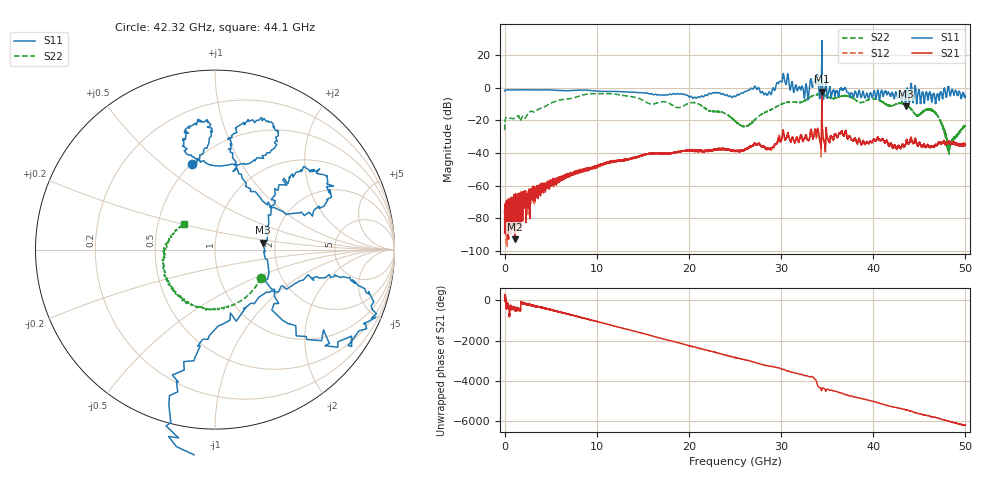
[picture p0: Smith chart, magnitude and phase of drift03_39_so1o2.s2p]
!Created with skrf (http://scikit-rf.org).
# Hz S RI R 50.0
!freq ReS11 ImS11 ReS21 ImS21 ReS12 ImS12 ReS22 ImS22
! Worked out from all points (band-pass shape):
!   10000 points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, 5.3 MHz to 50 GHz, reference 50 ohm
!   highest |S21| = -2.53 dB at 34.43 GHz (marker M1); lowest = -93.0 dB at 1.11 GHz (marker M2)
!   |S21| within 3 dB of the highest: 34.42749 GHz to 34.43443 GHz (6.946 MHz wide, 0.0202 % of centre)
!   lowest |S11| = -11.4 dB at 43.52 GHz (marker M3), VSWR 1.73, Z = 85.7 + j7.14 ohm
!   |S11| at or under -10 dB: 43.4924 GHz to 43.54147 GHz (49.07 MHz wide, 0.113 % of centre)
!   |S22| runs from -40.8 to -3.6 dB; largest |S21 - S12| = 0.23
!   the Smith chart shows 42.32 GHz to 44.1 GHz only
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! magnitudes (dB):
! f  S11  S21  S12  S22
! 5.3 MHz  -2.1  -89.1  -76.8  -26.0
! 305.3 MHz  -1.4  -78.9  -79.4  -18.3
! 1.11 GHz  -1.4  -93.0  -66.2  -18.7
! 8.34 GHz  -1.5  -50.5  -51.0  -4.7
! 16.67 GHz  -4.4  -40.3  -40.2  -9.2
! 20.74 GHz  -6.3  -38.8  -38.7  -9.3
! 25.01 GHz  -5.5  -38.9  -38.8  -20.5
! 26.23 GHz  -2.2  -37.4  -37.6  -23.6
! 28.72 GHz  -2.5  -37.6  -37.4  -14.0
! 30.14 GHz  4.4  -29.4  -29.8  -9.9
! 32.74 GHz  2.0  -29.6  -29.1  -7.3
! 33.34 GHz  2.6  -27.4  -27.6  -5.3
! 33.82 GHz  4.0  -29.0  -29.4  -4.2
! 34.43 GHz  28.9  -2.5  -4.5  -4.0
! 36.49 GHz  -0.3  -27.8  -27.9  -5.3
! 38.88 GHz  -2.3  -32.7  -32.6  -9.0
! 41.67 GHz  -3.0  -35.4  -35.5  -10.9
! 43.52 GHz  -11.4  -34.7  -34.7  -10.3
! 44.77 GHz  -7.8  -35.3  -35.0  -17.5
! 46.66 GHz  -5.3  -35.8  -35.6  -15.0
! 48.22 GHz  -0.5  -32.9  -32.5  -38.4
! 50 GHz  -5.2  -34.9  -34.7  -23.5
